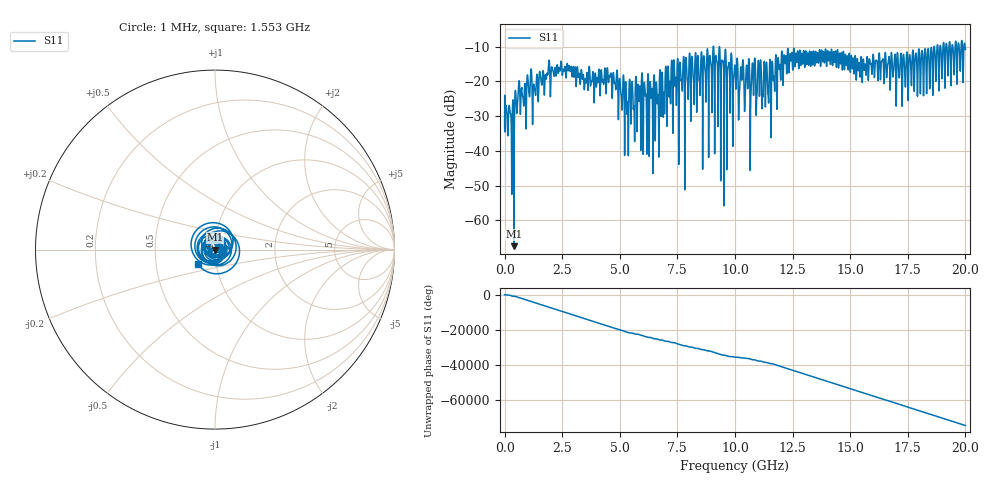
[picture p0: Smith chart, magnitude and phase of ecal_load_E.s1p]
! MS46122B
! 2250307/22442219
! 6/16/2025 12:43:20 PM
! C:\USERS\SPARKY\DOCUMENTS\VNA_DATA\JUNE16_2025\295\ECAL_LOAD_E.S1P
! CHANNEL.1
! TR.MEASUREMENT
! RAW.DATA
# GHZ S RI R 50.0
! FREQ.GHZ  S11RE  S11IM
!; PortSelection: Port_1
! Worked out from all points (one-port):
!   10001 points, 1 MHz to 20 GHz, reference 50 ohm
!   lowest |S11| = -67.5 dB at 413 MHz (marker M1), VSWR 1.00, Z = 50 + j0.0399 ohm
!   |S11| at or under -10 dB: start of sweep to 9.055 GHz; 9.071 GHz to 9.319 GHz (248.4 MHz wide, 2.7 % of centre); 9.329 GHz to 18.64 GHz (9.31 GHz wide, 66.6 % of centre) (the widest 3 of 14)
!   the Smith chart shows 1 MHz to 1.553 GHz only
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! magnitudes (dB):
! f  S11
! 1 MHz  -33.0
! 333 MHz  -30.2
! 413 MHz  -67.5
! 551 MHz  -27.5
! 857 MHz  -23.2
! 1.075 GHz  -24.3
! 1.285 GHz  -21.5
! 1.863 GHz  -17.7
! 2.501 GHz  -18.1
! 3.813 GHz  -18.5
! 4.535 GHz  -18.8
! 5.001 GHz  -19.3
! 5.293 GHz  -26.5
! 5.487 GHz  -29.9
! 5.563 GHz  -23.4
! 6.031 GHz  -27.3
! 6.095 GHz  -22.9
! 6.299 GHz  -22.8
! 6.615 GHz  -24.0
! 7.061 GHz  -21.0
! 7.501 GHz  -13.7
! 9.129 GHz  -20.5
! 10 GHz  -15.3
! 11.49 GHz  -16.4
! 12.5 GHz  -16.4
! 15 GHz  -17.0
! 17.5 GHz  -17.5
! 20 GHz  -10.7
